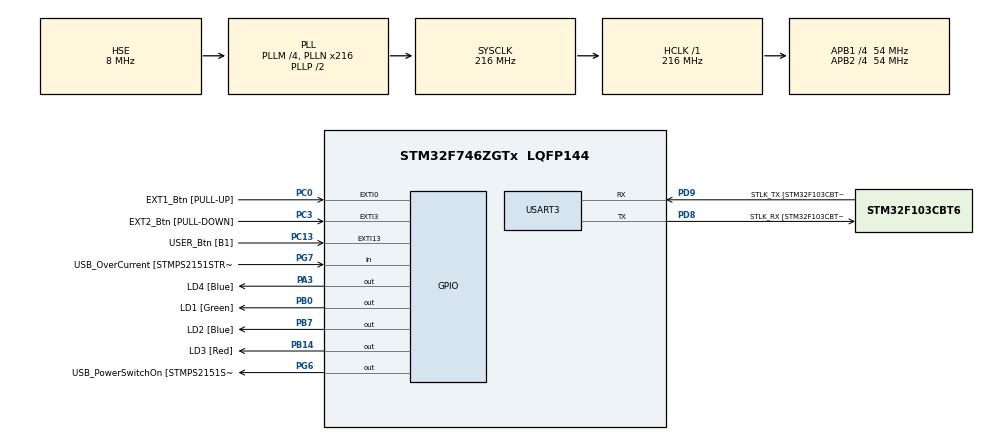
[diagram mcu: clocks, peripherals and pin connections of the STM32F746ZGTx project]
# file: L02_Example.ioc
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Mcu.Family=STM32F7
Mcu.Name=STM32F746ZGTx
Mcu.Package=LQFP144
NVIC.EXTI0_IRQn=true\:0\:0\:false\:false\:true\:true\:true\:true
NVIC.EXTI15_10_IRQn=true\:0\:0\:false\:false\:true\:true\:true\:true
NVIC.EXTI3_IRQn=true\:0\:0\:false\:false\:true\:true\:true\:true
NVIC.PriorityGroup=NVIC_PRIORITYGROUP_4
PA1.GPIO_Label=RMII_REF_CLK [LAN8742A-CZ-TR_REFCLK0]
PA1.Signal=ETH_REF_CLK
PA10.GPIO_Label=USB_ID
PA10.Signal=USB_OTG_FS_ID
PA11.GPIO_Label=USB_DM
PA11.Signal=USB_OTG_FS_DM
PA12.GPIO_Label=USB_DP
PA12.Signal=USB_OTG_FS_DP
PA13.GPIO_Label=TMS
PA13.Mode=Serial_Wire
PA13.Signal=SYS_JTMS-SWDIO
PA14.GPIO_Label=TCK
PA14.Mode=Serial_Wire
PA14.Signal=SYS_JTCK-SWCLK
PA2.GPIO_Label=RMII_MDIO [LAN8742A-CZ-TR_MDIO]
PA2.Signal=ETH_MDIO
PA3.GPIO_Label=LD4 [Blue]
PA3.GPIO_PuPd=GPIO_PULLDOWN
PA3.Signal=GPIO_Output
PA7.GPIO_Label=RMII_CRS_DV [LAN8742A-CZ-TR_CRS_DV]
PA7.Signal=ETH_CRS_DV
PA8.GPIO_Label=USB_SOF [TP1]
PA8.Signal=USB_OTG_FS_SOF
PA9.GPIO_Label=USB_VBUS
PA9.Signal=USB_OTG_FS_VBUS
PB0.GPIO_Label=LD1 [Green]
PB0.Signal=GPIO_Output
PB13.GPIO_Label=RMII_TXD1 [LAN8742A-CZ-TR_TXD1]
PB13.Signal=ETH_TXD1
PB14.GPIO_Label=LD3 [Red]
PB14.Signal=GPIO_Output
PB3.GPIO_Label=SW0
PB3.Signal=SYS_JTDO-SWO
PB7.GPIO_Label=LD2 [Blue]
PB7.Signal=GPIO_Output
PC0.GPIO_Label=EXT1_Btn [PULL-UP]
PC0.GPIO_ModeDefaultEXTI=GPIO_MODE_IT_FALLING
PC0.GPIO_PuPd=GPIO_PULLUP
PC0.Signal=GPXTI0
PC1.GPIO_Label=RMII_MDC [LAN8742A-CZ-TR_MDC]
PC1.Signal=ETH_MDC
PC13.GPIO_Label=USER_Btn [B1]
PC13.Signal=GPXTI13
PC14/OSC32_IN.Mode=LSE-External-Oscillator
PC14/OSC32_IN.Signal=RCC_OSC32_IN
PC15/OSC32_OUT.Mode=LSE-External-Oscillator
PC15/OSC32_OUT.Signal=RCC_OSC32_OUT
PC3.GPIO_Label=EXT2_Btn [PULL-DOWN]
PC3.GPIO_PuPd=GPIO_PULLDOWN
PC3.Signal=GPXTI3
PC4.GPIO_Label=RMII_RXD0 [LAN8742A-CZ-TR_RXD0]
PC4.Signal=ETH_RXD0
PC5.GPIO_Label=RMII_RXD1 [LAN8742A-CZ-TR_RXD1]
PC5.Signal=ETH_RXD1
PD8.GPIO_Label=STLK_RX [STM32F103CBT6_PA3]
PD8.Mode=Asynchronous
PD8.Signal=USART3_TX
PD9.GPIO_Label=STLK_TX [STM32F103CBT6_PA2]
PD9.Mode=Asynchronous
PD9.Signal=USART3_RX
PG11.GPIO_Label=RMII_TX_EN [LAN8742A-CZ-TR_TXEN]
PG11.Signal=ETH_TX_EN
PG13.GPIO_Label=RMII_TXD0 [LAN8742A-CZ-TR_TXD0]
PG13.Signal=ETH_TXD0
PG6.GPIO_Label=USB_PowerSwitchOn [STMPS2151STR_EN]
PG6.Signal=GPIO_Output
PG7.GPIO_Label=USB_OverCurrent [STMPS2151STR_FAULT]
PG7.Signal=GPIO_Input
PH0/OSC_IN.GPIO_Label=MCO [STM32F103CBT6_PA8]
PH0/OSC_IN.Mode=HSE-External-Clock-Source
PH0/OSC_IN.Signal=RCC_OSC_IN
PH1/OSC_OUT.Mode=HSE-External-Clock-Source
PH1/OSC_OUT.Signal=RCC_OSC_OUT
ProjectManager.HeapSize=0x200
ProjectManager.StackSize=0x400
ProjectManager.TargetToolchain=STM32CubeIDE
RCC.48MHZClocksFreq_Value=24000000
RCC.AHBFreq_Value=216000000
RCC.APB1CLKDivider=RCC_HCLK_DIV4
RCC.APB1Freq_Value=54000000
RCC.APB1TimFreq_Value=108000000
RCC.APB2CLKDivider=RCC_HCLK_DIV4
RCC.APB2Freq_Value=54000000
RCC.APB2TimFreq_Value=108000000
RCC.CortexFreq_Value=216000000
RCC.HCLKFreq_Value=216000000
RCC.HSE_VALUE=8000000
RCC.HSI_VALUE=16000000
RCC.PLLM=4
RCC.PLLMUL=RCC_PLL_MUL9
RCC.PLLN=216
RCC.PLLQ=3
RCC.PLLSourceVirtual=RCC_PLLSOURCE_HSE
RCC.PRESCALERUSB=RCC_USBCLKSOURCE_PLL_DIV1_5
RCC.SYSCLKFreq_VALUE=216000000
RCC.SYSCLKSource=RCC_SYSCLKSOURCE_PLLCLK
RCC.SYSCLKSourceVirtual=RCC_SYSCLKSOURCE_PLLCLK
RCC.USART3CLockSelection=RCC_USART3CLKSOURCE_SYSCLK
RCC.USBFreq_Value=144000000
RCC.VCOOutputFreq_Value=432000000
USART3.VirtualMode-Asynchronous=VM_ASYNC
board=NUCLEO-F746ZG

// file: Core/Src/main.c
/* USER CODE BEGIN Header */
/**
  ******************************************************************************
  * @file           : main.c
  * @brief          : Main program body
  ******************************************************************************
  * @attention
  *
  * Copyright (c) 2022 STMicroelectronics.
  * All rights reserved.
  *
  * This software is licensed under terms that can be found in the LICENSE file
  * in the root directory of this software component.
  * If no LICENSE file comes with this software, it is provided AS-IS.
  *
  ******************************************************************************
  */
/* USER CODE END Header */
#include "main.h"
#include "usart.h"
#include "gpio.h"

/* USER CODE BEGIN Includes */
#include <stdio.h>
#include <string.h>
#include "led_config.h"
#include "btn_config.h"
#include "serial_api_config.h"
/* USER CODE END Includes */

/* USER CODE BEGIN PV */
char msg[SERIAL_API_LED_MSG_LEN + 1] = { 0, };
/* USER CODE END PV */

void SystemClock_Config(void);

/* USER CODE BEGIN 0 */

int _write(int file, char *ptr, int len)
{
  HAL_UART_Transmit(&huart3, (uint8_t*)ptr, len, 0xFFFF);
  return len;
}

int _read(int file, char *ptr, int len)
{
  int msg_len = 0;
  while(msg_len <= len)
  {
    HAL_UART_Receive(&huart3, (uint8_t*)ptr, 1, 0xFFFF);
    msg_len++;
    if(*ptr == '\r')
      break;
    ptr++;
  }
  return msg_len;
}

/* USER CODE END 0 */

int main(void)
{

  /* MCU Configuration--------------------------------------------------------*/

  /* Reset of all peripherals, Initializes the Flash interface and the Systick. */
  HAL_Init();

  /* Configure the system clock */
  SystemClock_Config();

  /* Initialize all configured peripherals */
  MX_GPIO_Init();
  MX_USART3_UART_Init();

  /* Infinite loop */
  /* USER CODE BEGIN WHILE */
  while (1)
  {
    memset(msg, '\0', SERIAL_API_LED_MSG_LEN);
    scanf("%s", msg);

    int hleds_len = sizeof(hleds) / sizeof(hleds[0]);
    int status = SERIAL_API_LED_ReadMsg(msg, hleds, hleds_len);

    if(status == 0)
    {
      for(int i = 0; i < hleds_len; i++)
        LED_GPIO_Write(hleds[i].Led, hleds[i].State);
    }

    puts(msg);
    puts("\r\n");

    /* USER CODE END WHILE */

  }
}

void SystemClock_Config(void)
{
  RCC_OscInitTypeDef RCC_OscInitStruct = {0};
  RCC_ClkInitTypeDef RCC_ClkInitStruct = {0};

  /** Configure LSE Drive Capability
  */
  HAL_PWR_EnableBkUpAccess();

  /** Configure the main internal regulator output voltage
  */
  __HAL_RCC_PWR_CLK_ENABLE();
  __HAL_PWR_VOLTAGESCALING_CONFIG(PWR_REGULATOR_VOLTAGE_SCALE1);

  /** Initializes the RCC Oscillators according to the specified parameters
  * in the RCC_OscInitTypeDef structure.
  */
  RCC_OscInitStruct.OscillatorType = RCC_OSCILLATORTYPE_HSE;
  RCC_OscInitStruct.HSEState = RCC_HSE_BYPASS;
  RCC_OscInitStruct.PLL.PLLState = RCC_PLL_ON;
  RCC_OscInitStruct.PLL.PLLSource = RCC_PLLSOURCE_HSE;
  RCC_OscInitStruct.PLL.PLLM = 4;
  RCC_OscInitStruct.PLL.PLLN = 216;
  RCC_OscInitStruct.PLL.PLLP = RCC_PLLP_DIV2;
  RCC_OscInitStruct.PLL.PLLQ = 3;
  if (HAL_RCC_OscConfig(&RCC_OscInitStruct) != HAL_OK)
  {
    Error_Handler();
  }

  /** Activate the Over-Drive mode
  */
  if (HAL_PWREx_EnableOverDrive() != HAL_OK)
  {
    Error_Handler();
  }

  /** Initializes the CPU, AHB and APB buses clocks
  */
  RCC_ClkInitStruct.ClockType = RCC_CLOCKTYPE_HCLK|RCC_CLOCKTYPE_SYSCLK
                              |RCC_CLOCKTYPE_PCLK1|RCC_CLOCKTYPE_PCLK2;
  RCC_ClkInitStruct.SYSCLKSource = RCC_SYSCLKSOURCE_PLLCLK;
  RCC_ClkInitStruct.AHBCLKDivider = RCC_SYSCLK_DIV1;
  RCC_ClkInitStruct.APB1CLKDivider = RCC_HCLK_DIV4;
  RCC_ClkInitStruct.APB2CLKDivider = RCC_HCLK_DIV4;

  if (HAL_RCC_ClockConfig(&RCC_ClkInitStruct, FLASH_LATENCY_7) != HAL_OK)
  {
    Error_Handler();
  }
}

void Error_Handler(void)
{
  __disable_irq();
  while (1)
  {
  }
}
